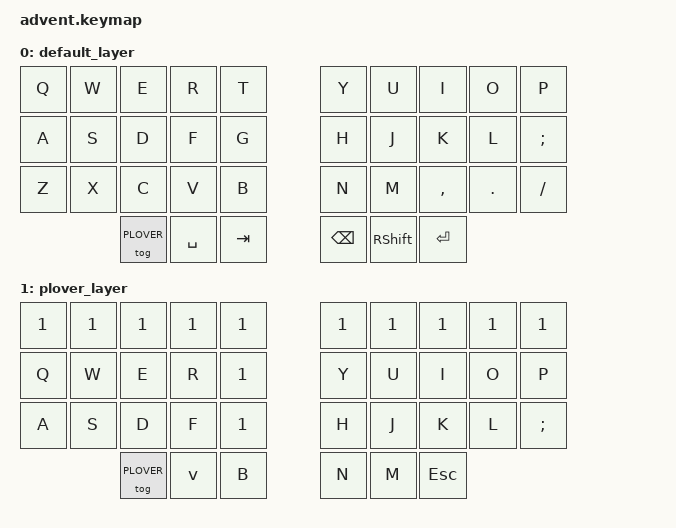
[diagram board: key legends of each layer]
/*
 * Copyright (c) 2020 The ZMK Contributors
 *
 * SPDX-License-Identifier: MIT
 */

#include <behaviors.dtsi>
#include <dt-bindings/zmk/keys.h>
#include <dt-bindings/zmk/bt.h>
#include <dt-bindings/zmk/mouse.h>

#define DEFAULT 0
#define PLOVER 1

/ {
	keymap {
		compatible = "zmk,keymap";


		default_layer {
		bindings = <
		&kp Q &kp W &kp E       &kp R     &kp T	        &kp Y         &kp U      &kp I     &kp O       &kp P
		&kp A &kp S &kp D       &kp F     &kp G	        &kp H         &kp J      &kp K     &kp L       &kp SEMICOLON
		&kp Z &kp X &kp C       &kp V     &kp B	        &kp N         &kp M      &kp COMMA &kp PERIOD  &kp SLASH
			    &tog PLOVER &kp SPACE &kp TAB	&kp BACKSPACE &kp RSHIFT &kp ENTER
		>;
		};      

		plover_layer {
		bindings = <
		&kp 1 &kp 1 &kp 1       &kp 1  &kp 1		&kp 1 &kp 1 &kp 1 &kp 1 &kp 1
		&kp Q &kp W &kp E       &kp R  &kp 1 		&kp Y &kp U &kp I &kp O &kp P
		&kp A &kp S &kp D       &kp F  &kp 1		&kp H &kp J &kp K &kp L &kp SEMICOLON
			    &tog PLOVER &kp v  &kp B		&kp N &kp M &kp ESC
		>;
		}; 		
	};
};
